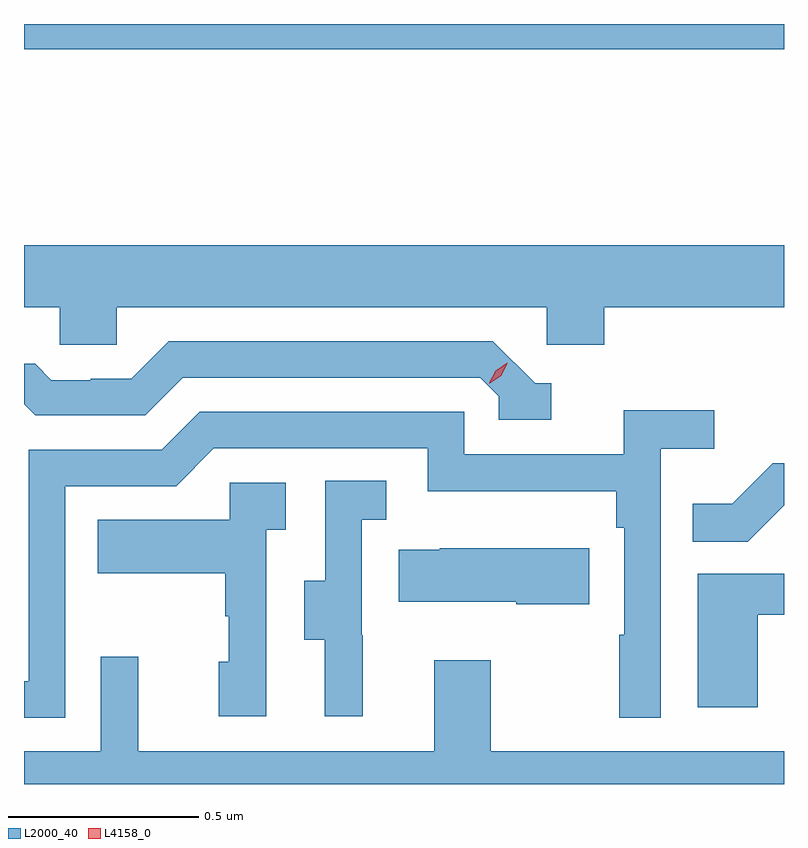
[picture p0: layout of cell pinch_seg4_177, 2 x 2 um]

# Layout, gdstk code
import gdstk
lib = gdstk.Library(unit=1e-6, precision=1e-09)
def R(c, l, rs):  # rectangles x0, y0, x1, y1
    for r in rs: c.add(gdstk.rectangle(r[:2], r[2:], *l))
def P(c, l, *ps):  # polygons
    for p in ps: c.add(gdstk.Polygon(p, *l))
L2000_40 = (2000, 40)
L4158_0 = (4158, 0)

pinch_seg4_177 = lib.new_cell('pinch_seg4_177')
R(pinch_seg4_177, L2000_40, [(1109.291,802.828,1111.291,802.894)])
P(pinch_seg4_177, L2000_40, [(1109.535,802.148),(1110.666,802.148),(1110.666,802.05),(1110.818,802.05),(1110.818,802.148),(1111.291,802.148),(1111.291,802.312),(1109.291,802.312),(1109.291,802.148),(1109.385,802.148),(1109.385,802.05),(1109.535,802.05)],
  [(1110.679,801.948),(1110.636,801.948),(1110.525,802.059),(1109.672,802.059),(1109.573,801.96),(1109.466,801.96),(1109.466,801.957),(1109.363,801.957),(1109.321,802),(1109.291,802),(1109.291,801.894),(1109.321,801.864),(1109.61,801.864),(1109.709,801.963),(1110.492,801.963),(1110.54,801.915),(1110.54,801.852),(1110.679,801.852)],
  [(1109.4,801.678),(1109.691,801.678),(1109.79,801.777),(1110.354,801.777),(1110.354,801.665),(1110.85,801.665),(1110.85,801.569),(1110.87,801.569),(1110.87,801.287),(1110.858,801.287),(1110.858,801.069),(1110.966,801.069),(1110.966,801.776),(1111.108,801.776),(1111.108,801.878),(1110.869,801.878),(1110.869,801.762),(1110.45,801.762),(1110.45,801.873),(1109.753,801.873),(1109.654,801.774),(1109.304,801.774),(1109.304,801.165),(1109.291,801.165),(1109.291,801.069),(1109.4,801.069)],
  [(1111.291,801.628),(1111.291,801.738),(1111.262,801.738),(1111.155,801.631),(1111.051,801.631),(1111.051,801.532),(1111.195,801.532)],
  [(1110.182,801.285),(1110.18,801.285),(1110.18,801.589),(1110.244,801.589),(1110.244,801.692),(1110.084,801.692),(1110.084,801.429),(1110.029,801.429),(1110.029,801.274),(1110.083,801.274),(1110.083,801.072),(1110.182,801.072)],
  [(1109.928,801.563),(1109.98,801.563),(1109.98,801.687),(1109.832,801.687),(1109.832,801.589),(1109.485,801.589),(1109.485,801.449),(1109.82,801.449),(1109.82,801.335),(1109.83,801.335),(1109.83,801.216),(1109.804,801.216),(1109.804,801.072),(1109.928,801.072)],
  [(1110.778,801.514),(1110.385,801.514),(1110.385,801.511),(1110.277,801.511),(1110.277,801.374),(1110.587,801.374),(1110.587,801.367),(1110.778,801.367)],
  [(1111.222,801.339),(1111.291,801.339),(1111.291,801.447),(1111.064,801.447),(1111.064,801.096),(1111.222,801.096)],
  [(1111.291,800.98),(1110.519,800.98),(1110.519,801.22),(1110.371,801.22),(1110.371,800.98),(1109.591,800.98),(1109.591,801.229),(1109.493,801.229),(1109.493,800.98),(1109.291,800.98),(1109.291,800.894),(1111.291,800.894)])
P(pinch_seg4_177, L4158_0, [(1110.515,801.949),(1110.515,801.95),(1110.532,801.982),(1110.563,802.002),(1110.563,802.002),(1110.563,802.001),(1110.547,801.969),(1110.516,801.949)])

lib.write_gds('pinch_seg4_177.gds')
